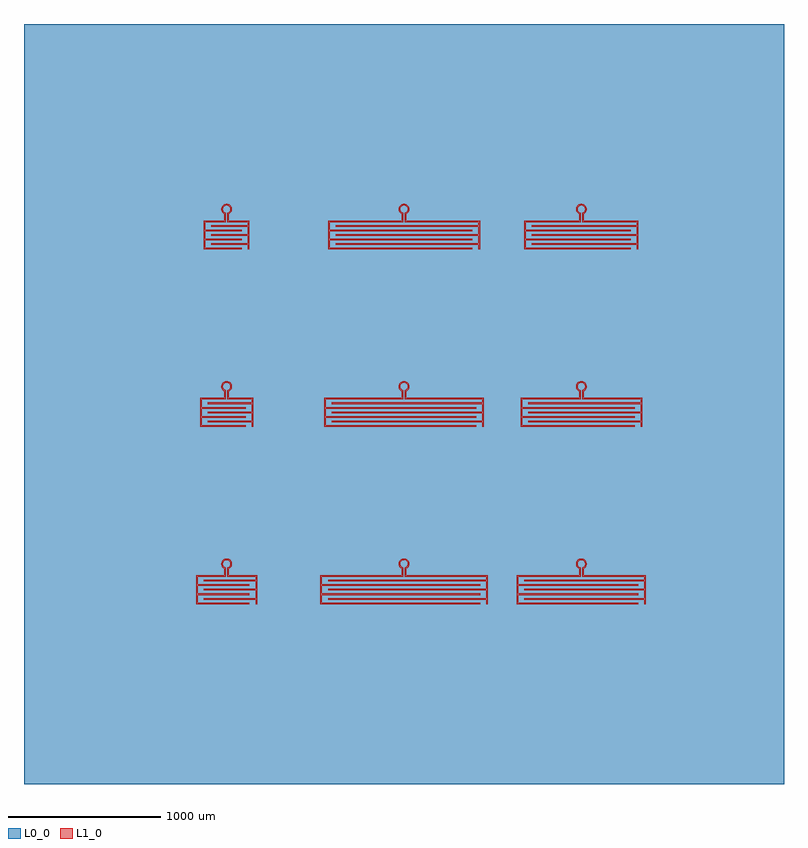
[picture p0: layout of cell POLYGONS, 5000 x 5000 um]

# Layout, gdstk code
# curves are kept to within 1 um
import gdstk
lib = gdstk.Library(unit=1e-6, precision=1e-09)
def R(c, l, rs):  # rectangles x0, y0, x1, y1
    for r in rs: c.add(gdstk.rectangle(r[:2], r[2:], *l))
def A(c, l, x, y, w, h, nx, ny, dx, dy):  # array of equal rectangles
    R(c, l, [(x+i*dx, y+j*dy, x+i*dx+w, y+j*dy+h) for i in range(nx) for j in range(ny)])
def P(c, l, *ps):  # polygons
    for p in ps: c.add(gdstk.Polygon(p, *l))
L0_0 = (0, 0)
L1_0 = (1, 0)

polygons = lib.new_cell('POLYGONS')
R(polygons, L0_0, [(-2500,-2500,2500,2500), (-1750,-1750,-583.333,-583.333), (-583.333,-1750,583.333,-583.333), (583.333,-1750,1750,-583.333), (-1750,-583.333,-583.333,583.333), (-583.333,-583.333,583.333,583.333), (583.333,-583.333,1750,583.333), (-1750,583.333,-583.333,1750), (-583.333,583.333,583.333,1750), (583.333,583.333,1750,1750)])
A(polygons, L1_0, -1366.667, -1316.667, 350, 10, 1, 3, 0, 60)
A(polygons, L1_0, -976.667, -1316.667, 10, 30, 1, 3, 0, 60)
A(polygons, L1_0, -550, -1316.667, 1050, 10, 1, 3, 0, 60)
A(polygons, L1_0, 540, -1316.667, 10, 30, 1, 3, 0, 60)
A(polygons, L1_0, 741.667, -1316.667, 800, 10, 1, 3, 0, 60)
A(polygons, L1_0, 1581.667, -1316.667, 10, 30, 1, 3, 0, 60)
A(polygons, L1_0, -1366.667, -1306.667, 10, 50, 1, 3, 0, 60)
A(polygons, L1_0, -550, -1306.667, 10, 50, 1, 3, 0, 60)
A(polygons, L1_0, 741.667, -1306.667, 10, 50, 1, 3, 0, 60)
A(polygons, L1_0, -1316.667, -1286.667, 350, 10, 1, 3, 0, 60)
A(polygons, L1_0, -500, -1286.667, 1050, 10, 1, 3, 0, 60)
A(polygons, L1_0, 791.667, -1286.667, 800, 10, 1, 3, 0, 60)
A(polygons, L1_0, -976.667, -1276.667, 10, 20, 1, 3, 0, 60)
A(polygons, L1_0, 540, -1276.667, 10, 20, 1, 3, 0, 60)
A(polygons, L1_0, 1581.667, -1276.667, 10, 20, 1, 3, 0, 60)
A(polygons, L1_0, -1341.667, -150, 300, 10, 1, 3, 0, 60)
A(polygons, L1_0, -1001.667, -150, 10, 30, 1, 3, 0, 60)
A(polygons, L1_0, -525, -150, 1000, 10, 1, 3, 0, 60)
A(polygons, L1_0, 515, -150, 10, 30, 1, 3, 0, 60)
A(polygons, L1_0, 766.667, -150, 750, 10, 1, 3, 0, 60)
A(polygons, L1_0, 1556.667, -150, 10, 30, 1, 3, 0, 60)
A(polygons, L1_0, -1341.667, -140, 10, 50, 1, 3, 0, 60)
A(polygons, L1_0, -525, -140, 10, 50, 1, 3, 0, 60)
A(polygons, L1_0, 766.667, -140, 10, 50, 1, 3, 0, 60)
A(polygons, L1_0, -1291.667, -120, 300, 10, 1, 3, 0, 60)
A(polygons, L1_0, -475, -120, 1000, 10, 1, 3, 0, 60)
A(polygons, L1_0, 816.667, -120, 750, 10, 1, 3, 0, 60)
A(polygons, L1_0, -1001.667, -110, 10, 20, 1, 3, 0, 60)
A(polygons, L1_0, 515, -110, 10, 20, 1, 3, 0, 60)
A(polygons, L1_0, 1556.667, -110, 10, 20, 1, 3, 0, 60)
A(polygons, L1_0, -1316.667, 1016.667, 250, 10, 1, 3, 0, 60)
A(polygons, L1_0, -1026.667, 1016.667, 10, 30, 1, 3, 0, 60)
A(polygons, L1_0, -500, 1016.667, 950, 10, 1, 3, 0, 60)
A(polygons, L1_0, 490, 1016.667, 10, 30, 1, 3, 0, 60)
A(polygons, L1_0, 791.667, 1016.667, 700, 10, 1, 3, 0, 60)
A(polygons, L1_0, 1531.667, 1016.667, 10, 30, 1, 3, 0, 60)
A(polygons, L1_0, -1316.667, 1026.667, 10, 50, 1, 3, 0, 60)
A(polygons, L1_0, -500, 1026.667, 10, 50, 1, 3, 0, 60)
A(polygons, L1_0, 791.667, 1026.667, 10, 50, 1, 3, 0, 60)
A(polygons, L1_0, -1266.667, 1046.667, 250, 10, 1, 3, 0, 60)
A(polygons, L1_0, -450, 1046.667, 950, 10, 1, 3, 0, 60)
A(polygons, L1_0, 841.667, 1046.667, 700, 10, 1, 3, 0, 60)
A(polygons, L1_0, -1026.667, 1056.667, 10, 20, 1, 3, 0, 60)
A(polygons, L1_0, 490, 1056.667, 10, 20, 1, 3, 0, 60)
A(polygons, L1_0, 1531.667, 1056.667, 10, 20, 1, 3, 0, 60)
R(polygons, L1_0, [(-1366.667,-1136.667,-1171.667,-1126.667), (-1161.667,-1136.667,-966.667,-1126.667), (-550,-1136.667,-5,-1126.667), (5,-1136.667,550,-1126.667), (741.667,-1136.667,1161.667,-1126.667), (1171.667,-1136.667,1591.667,-1126.667), (-1181.667,-1126.667,-1171.667,-1076.168), (-1161.667,-1126.667,-1151.667,-1076.168), (-15,-1126.667,-5,-1076.168), (5,-1126.667,15,-1076.168), (1151.667,-1126.667,1161.667,-1076.168), (1171.667,-1126.667,1181.667,-1076.168), (-1341.667,30,-1171.667,40), (-1161.667,30,-991.667,40), (-525,30,-5,40), (5,30,525,40), (766.667,30,1161.667,40), (1171.667,30,1566.667,40), (-1181.667,40,-1171.667,90.498), (-1161.667,40,-1151.667,90.498), (-15,40,-5,90.498), (5,40,15,90.498), (1151.667,40,1161.667,90.498), (1171.667,40,1181.667,90.498), (-1316.667,1196.667,-1171.667,1206.667), (-1161.667,1196.667,-1016.667,1206.667), (-500,1196.667,-5,1206.667), (5,1196.667,500,1206.667), (791.667,1196.667,1161.667,1206.667), (1171.667,1196.667,1541.667,1206.667), (-1181.667,1206.667,-1171.667,1257.165), (-1161.667,1206.667,-1151.667,1257.165), (-15,1206.667,-5,1257.165), (5,1206.667,15,1257.165), (1151.667,1206.667,1161.667,1257.165), (1171.667,1206.667,1181.667,1257.165)])
P(polygons, L1_0, [(-1161.7,1257.165),(-1156.124,1258.998),(-1148.937,1264.041),(-1145.316,1268.66),(-1142.136,1276.843),(-1141.981,1285.621),(-1144.87,1293.911),(-1150.447,1300.691),(-1155.33,1303.948),(-1166.667,1306.667),(-1175.309,1305.125),(-1185.007,1298.655),(-1190.717,1288.491),(-1191.594,1279.756),(-1188.017,1268.66),(-1182.204,1262.081),(-1171.633,1257.165),(-1173.62,1247.364),(-1185.05,1251.883),(-1191.488,1256.99),(-1198.488,1267.093),(-1201.009,1274.914),(-1201.226,1287.202),(-1197.182,1298.809),(-1189.374,1308.301),(-1182.538,1312.861),(-1174.827,1315.702),(-1162.558,1316.425),(-1150.795,1312.861),(-1143.959,1308.301),(-1138.375,1302.272),(-1132.996,1291.221),(-1131.696,1283.107),(-1132.324,1274.914),(-1134.845,1267.093),(-1139.121,1260.075),(-1148.283,1251.883),(-1159.713,1247.364)],
  [(4.967,1257.165),(13.131,1260.393),(19.676,1266.244),(23.794,1273.997),(24.927,1279.756),(24.685,1285.621),(21.796,1293.911),(16.22,1300.691),(11.337,1303.948),(0,1306.667),(-8.643,1305.125),(-18.341,1298.655),(-24.05,1288.491),(-24.927,1279.756),(-21.35,1268.66),(-15.537,1262.081),(-4.967,1257.165),(-6.953,1247.364),(-14.76,1249.931),(-24.821,1256.99),(-31.821,1267.093),(-34.342,1274.914),(-34.559,1287.202),(-30.515,1298.809),(-25.677,1305.451),(-19.424,1310.782),(-8.161,1315.702),(4.109,1316.425),(12.1,1314.509),(19.424,1310.782),(28.292,1302.272),(33.671,1291.221),(34.97,1283.107),(34.342,1274.914),(31.821,1267.093),(27.546,1260.075),(18.383,1251.883),(6.953,1247.364)],
  [(1171.633,1257.165),(1177.209,1258.998),(1184.396,1264.041),(1189.396,1271.257),(1191.594,1279.756),(1191.352,1285.621),(1188.463,1293.911),(1182.886,1300.691),(1178.003,1303.948),(1166.667,1306.667),(1158.024,1305.125),(1148.326,1298.655),(1142.616,1288.491),(1142.136,1276.843),(1145.316,1268.66),(1151.129,1262.081),(1161.7,1257.165),(1159.713,1247.364),(1148.283,1251.883),(1141.846,1256.99),(1136.776,1263.458),(1132.324,1274.914),(1132.107,1287.202),(1136.152,1298.809),(1143.959,1308.301),(1150.795,1312.861),(1158.506,1315.702),(1170.775,1316.425),(1182.538,1312.861),(1192.344,1305.451),(1197.182,1298.809),(1200.337,1291.221),(1201.637,1283.107),(1201.009,1274.914),(1198.488,1267.093),(1194.213,1260.075),(1185.05,1251.883),(1173.62,1247.364)],
  [(-1161.7,90.498),(-1153.536,93.726),(-1148.937,97.374),(-1145.316,101.994),(-1142.136,110.176),(-1141.981,118.954),(-1144.87,127.244),(-1148.326,131.989),(-1155.33,137.282),(-1166.667,140),(-1175.309,138.459),(-1185.007,131.989),(-1190.717,121.825),(-1191.594,113.089),(-1188.017,101.994),(-1179.798,93.726),(-1171.633,90.498),(-1173.62,80.698),(-1185.05,85.216),(-1191.488,90.324),(-1198.488,100.426),(-1201.009,108.247),(-1201.226,120.536),(-1197.182,132.142),(-1192.344,138.784),(-1186.09,144.116),(-1174.827,149.035),(-1162.558,149.758),(-1150.795,146.195),(-1143.959,141.634),(-1138.375,135.606),(-1132.996,124.555),(-1131.696,116.44),(-1132.324,108.247),(-1134.845,100.426),(-1139.121,93.408),(-1148.283,85.216),(-1159.713,80.698)],
  [(4.967,90.498),(13.131,93.726),(19.676,99.577),(23.794,107.33),(24.927,113.089),(24.05,121.825),(21.796,127.244),(18.341,131.989),(11.337,137.282),(0,140),(-8.643,138.459),(-18.341,131.989),(-24.05,121.825),(-24.927,113.089),(-21.35,101.994),(-13.131,93.726),(-4.967,90.498),(-6.953,80.698),(-14.76,83.264),(-24.821,90.324),(-31.821,100.426),(-34.342,108.247),(-34.97,116.44),(-33.671,124.555),(-28.292,135.606),(-19.424,144.116),(-8.161,149.035),(4.109,149.758),(12.1,147.842),(19.424,144.116),(28.292,135.606),(33.671,124.555),(34.97,116.44),(34.342,108.247),(31.821,100.426),(27.546,93.408),(18.383,85.216),(6.953,80.698)],
  [(1171.633,90.498),(1179.798,93.726),(1184.396,97.374),(1189.396,104.59),(1191.594,113.089),(1190.717,121.825),(1188.463,127.244),(1185.007,131.989),(1178.003,137.282),(1166.667,140),(1158.024,138.459),(1148.326,131.989),(1142.616,121.825),(1142.136,110.176),(1145.316,101.994),(1153.536,93.726),(1161.7,90.498),(1159.713,80.698),(1148.283,85.216),(1141.846,90.324),(1136.776,96.791),(1132.324,108.247),(1132.107,120.536),(1134.35,128.441),(1138.375,135.606),(1147.243,144.116),(1158.506,149.035),(1170.775,149.758),(1182.538,146.195),(1189.374,141.634),(1194.958,135.606),(1200.337,124.555),(1201.637,116.44),(1201.009,108.247),(1198.488,100.426),(1194.213,93.408),(1185.05,85.216),(1173.62,80.698)],
  [(-1161.7,-1076.168),(-1153.536,-1072.941),(-1148.937,-1069.293),(-1145.316,-1064.673),(-1142.136,-1056.49),(-1141.981,-1047.713),(-1144.87,-1039.422),(-1150.447,-1032.642),(-1155.33,-1029.385),(-1166.667,-1026.667),(-1175.309,-1028.208),(-1185.007,-1034.678),(-1190.717,-1044.842),(-1191.594,-1053.577),(-1188.017,-1064.673),(-1179.798,-1072.941),(-1171.633,-1076.168),(-1173.62,-1085.969),(-1185.05,-1081.45),(-1191.488,-1076.343),(-1198.488,-1066.241),(-1201.009,-1058.42),(-1201.226,-1046.131),(-1197.182,-1034.525),(-1192.344,-1027.882),(-1186.09,-1022.551),(-1174.827,-1017.631),(-1162.558,-1016.909),(-1150.795,-1020.472),(-1143.959,-1025.033),(-1138.375,-1031.061),(-1132.996,-1042.112),(-1131.696,-1050.226),(-1132.324,-1058.42),(-1134.845,-1066.241),(-1139.121,-1073.259),(-1148.283,-1081.45),(-1159.713,-1085.969)],
  [(4.967,-1076.168),(13.131,-1072.941),(17.729,-1069.293),(22.729,-1062.077),(24.927,-1053.577),(24.05,-1044.842),(21.796,-1039.422),(16.22,-1032.642),(11.337,-1029.385),(0,-1026.667),(-8.643,-1028.208),(-18.341,-1034.678),(-24.05,-1044.842),(-24.927,-1053.577),(-21.35,-1064.673),(-13.131,-1072.941),(-4.967,-1076.168),(-6.953,-1085.969),(-14.76,-1083.402),(-24.821,-1076.343),(-31.821,-1066.241),(-34.342,-1058.42),(-34.97,-1050.226),(-33.671,-1042.112),(-28.292,-1031.061),(-19.424,-1022.551),(-8.161,-1017.631),(0,-1016.667),(8.161,-1017.631),(19.424,-1022.551),(28.292,-1031.061),(33.671,-1042.112),(34.97,-1050.226),(34.342,-1058.42),(31.821,-1066.241),(27.546,-1073.259),(18.383,-1081.45),(6.953,-1085.969)],
  [(1171.633,-1076.168),(1179.798,-1072.941),(1184.396,-1069.293),(1189.396,-1062.077),(1191.594,-1053.577),(1190.717,-1044.842),(1188.463,-1039.422),(1182.886,-1032.642),(1178.003,-1029.385),(1166.667,-1026.667),(1158.024,-1028.208),(1148.326,-1034.678),(1142.616,-1044.842),(1142.136,-1056.49),(1145.316,-1064.673),(1153.536,-1072.941),(1161.7,-1076.168),(1159.713,-1085.969),(1148.283,-1081.45),(1141.846,-1076.343),(1136.776,-1069.876),(1132.324,-1058.42),(1132.107,-1046.131),(1134.35,-1038.226),(1138.375,-1031.061),(1147.243,-1022.551),(1158.506,-1017.631),(1170.775,-1016.909),(1182.538,-1020.472),(1192.344,-1027.882),(1197.182,-1034.525),(1200.337,-1042.112),(1201.637,-1050.226),(1201.009,-1058.42),(1198.488,-1066.241),(1194.213,-1073.259),(1185.05,-1081.45),(1173.62,-1085.969)])

lib.write_gds('POLYGONS.gds')
